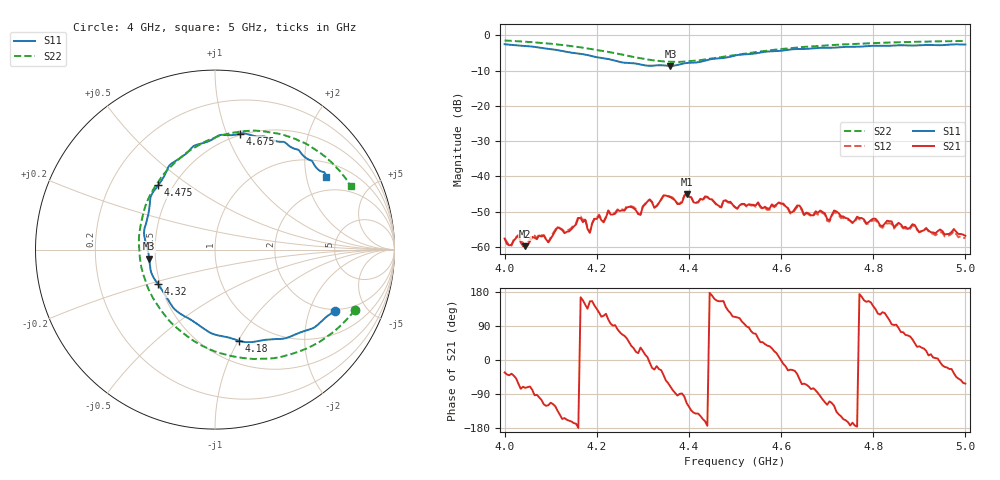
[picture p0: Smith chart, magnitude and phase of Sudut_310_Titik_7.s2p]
# Hz S RI R 50
! CMT, C1220, 16058040, 17.2.0/1
! Date: 15/08/2018 12:05:46
! Data: Format (Calibration Info)
! Freq  S11: Re/Im (F2)  S21: Re/Im (F2)  S12: Re/Im (F2)  S22: Re/Im (F2)
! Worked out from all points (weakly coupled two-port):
!   201 points, 4 GHz to 5 GHz, reference 50 ohm
!   highest |S21| = -45.09 dB at 4.395 GHz (marker M1); lowest = -59.8 dB at 4.045 GHz (marker M2)
!   lowest |S11| = -8.6 dB at 4.36 GHz (marker M3), VSWR 2.17, Z = 23.1 - j2.65 ohm
!   |S11| at or under -10 dB: nowhere
!   |S22| runs from -7.5 to -1.4 dB; largest |S21 - S12| = 0.00022
!   S11 on the Smith chart (normalised r, x): 4 GHz: 1.92, -3.00; 4.18 GHz: 0.72, -1.01; 4.32 GHz: 0.49, -0.22; 4.475 GHz: 0.41, +0.39; 4.675 GHz: 0.49, +1.12; 5 GHz: 1.45, +2.63
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4e9  0.667 -0.3421  0.0011 -0.000713  0.00113 -0.00068  0.7782 -0.3371
4.015e9  0.6391 -0.3613  0.000867 -0.000633  0.000833 -0.000621  0.7508 -0.3705
4.03e9  0.6053 -0.3884  0.000658 -0.00128  0.000759 -0.00126  0.721 -0.402
4.045e9  0.571 -0.4202  0.000288 -0.000979  0.000353 -0.000979  0.6882 -0.4342
4.06e9  0.5364 -0.4416  0.00027 -0.00135  0.000315 -0.00144  0.6528 -0.4641
4.095e9  0.4296 -0.4805  -0.000567 -0.00101  -0.000599 -0.000997  0.556 -0.5288
4.17e9  0.1667 -0.5154  -0.00206 0.000866  -0.00217 0.000907  0.2806 -0.6077
4.18e9  0.1348 -0.5079  -0.00127 0.00126  -0.00128 0.00131  0.2394 -0.6085
4.225e9  -0.0311 -0.461  -0.000936 0.00311  -0.000969 0.00313  0.0431 -0.5808
4.295e9  -0.2549 -0.2902  0.00239 0.00153  0.0025 0.00148  -0.2445 -0.4076
4.32e9  -0.3177 -0.1925  0.00398 -0.00152  0.00407 -0.00155  -0.3202 -0.3093
4.335e9  -0.349 -0.1427  0.00384 -0.00171  0.00379 -0.00172  -0.3593 -0.2434
4.36e9  -0.3666 -0.0496  0.00168 -0.00476  0.00167 -0.00486  -0.404 -0.1222
4.38e9  -0.3855 0.0407  4.74e-05 -0.00405  1.21e-05 -0.00412  -0.4202 -0.0239
4.395e9  -0.3954 0.0911  -0.00222 -0.0051  -0.00242 -0.00516  -0.4239 0.0505
4.475e9  -0.316 0.3589  -0.00409 0.00187  -0.00402 0.00201  -0.3067 0.3919
4.5e9  -0.2671 0.4439  -0.00147 0.00335  -0.00145 0.00334  -0.2415 0.4676
4.595e9  -0.0502 0.5984  0.00421 0.000653  0.00416 0.000579  0.0293 0.635
4.67e9  0.1304 0.6435  0.000744 -0.00269  0.000653 -0.00266  0.2357 0.662
4.675e9  0.1407 0.6462  0.000546 -0.00315  0.000492 -0.00299  0.2484 0.661
4.835e9  0.4344 0.5649  -0.000617 0.00222  -0.000587 0.00208  0.5705 0.55
5e9  0.62 0.4066  0.000663 -0.00126  0.0007 -0.00113  0.7568 0.3524
